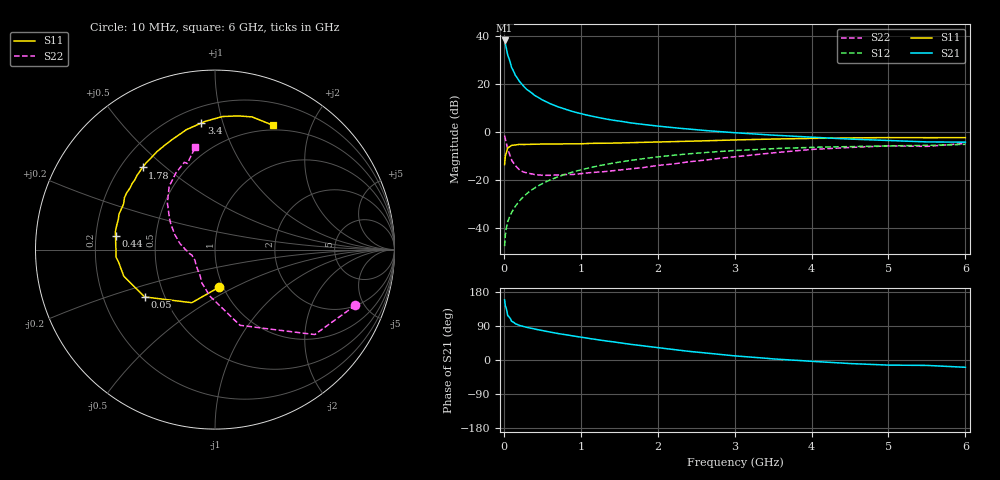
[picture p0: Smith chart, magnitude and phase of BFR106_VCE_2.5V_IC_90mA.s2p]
! Infineon Technologies  Discrete & RF Semiconductors
! BFR106
! VCE =  2.5 V,  IC =  90 mA
! Common Emitter S-Parameters:  Nov 2015
# GHz  S  MA  R  50
!  f  S11  S21  S12  S22
! GHz  MAG  ANG  MAG  ANG  MAG  ANG  MAG  ANG
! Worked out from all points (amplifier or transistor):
!   210 points, 10 MHz to 6 GHz, reference 50 ohm
!   highest |S21| = 38.0 dB at 10 MHz (marker M1)
!   |S21| within 3 dB of that: start of sweep to 30.96 MHz
!   unconditionally stable (mu >= 1): 161.4 MHz to 2.817 GHz; 5.066 GHz to end of sweep
!   at 185 MHz: K = 1.01, MAG = 24.9 dB, |S12| = -29.2 dB
!   at 1.52 GHz: K = 1.06, MAG = 6.9 dB, |S12| = -12.4 dB
!   at 6 GHz: K = 1.01, MAG = -0.2 dB, |S12| = -5.1 dB
!   S11 on the Smith chart (normalised r, x): 10 MHz: 0.96, -0.42; 50 MHz: 0.39, -0.26; 440 MHz: 0.28, +0.06; 1.78 GHz: 0.29, +0.42; 3.4 GHz: 0.30, +0.85; 6 GHz: 0.44, +1.48
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0.01  0.2111 -83.9  79.16 158.7  0.0043 78.0  0.8419 -21.6
0.02  0.3229 -113.6  67.11 142.8  0.0074 67.4  0.7301 -40.4
0.05  0.4726 -146.1  39.75 117.4  0.0138 61.4  0.4444 -71.7
0.1  0.5293 -163.7  22 102.5  0.0212 65.6  0.2617 -96.0
0.15  0.5403 -172.1  14.99 95.6  0.0288 68.7  0.2004 -111.2
0.2  0.5533 -175.7  11.39 91.4  0.0369 71.5  0.1663 -120.2
0.26  0.5517 -179.8  8.802 87.8  0.0464 73.1  0.1475 -130.7
0.3  0.5533 178.1  7.617 85.8  0.053 73.6  0.1424 -135.2
0.4  0.5568 173.5  5.761 81.6  0.0693 73.5  0.1316 -145.0
0.44  0.5594 172.0  5.306 80.2  0.0756 73.3  0.1295 -147.6
0.5  0.5641 169.7  4.631 77.5  0.0851 73.1  0.1268 -151.7
0.6  0.5645 166.0  3.881 73.7  0.1015 72.1  0.1265 -155.5
0.7  0.5639 162.8  3.355 69.9  0.1171 71.0  0.1294 -159.3
1.02  0.5718 152.7  2.359 59.6  0.1673 66.3  0.1379 -168.7
1.3  0.5845 144.2  1.897 51.1  0.2095 61.7  0.1507 -175.6
1.78  0.6101 131.4  1.46 38.2  0.2759 53.6  0.181 173.8
2.02  0.6213 125.6  1.318 32.1  0.3072 49.5  0.204 168.5
3.1  0.6913 101.6  0.945 9.4  0.421 31.5  0.3175 143.5
3.4  0.709 96.2  0.882 4.7  0.4454 26.9  0.3566 137.4
4.1  0.7444 85.4  0.766 -4.6  0.4859 16.5  0.4433 124.0
5.1  0.7662 73.3  0.658 -13.7  0.5184 4.5  0.5133 109.1
6  0.7648 64.8  0.616 -19.2  0.5553 -4.6  0.5807 100.9
